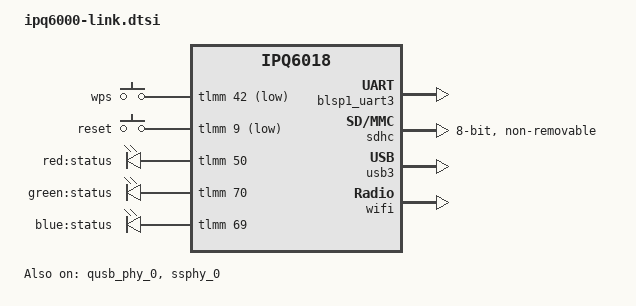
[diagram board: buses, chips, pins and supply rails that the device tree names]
// SPDX-License-Identifier: GPL-2.0-or-later OR MIT

#include "ipq6018-512m.dtsi"
#include "ipq6018-ess.dtsi"
#include "ipq6018-nss.dtsi"

#include <dt-bindings/gpio/gpio.h>
#include <dt-bindings/input/input.h>

/ {
	aliases {
		serial0 = &blsp1_uart3;
		led-boot = &led_status_red;
		led-failsafe = &led_status_red;
		led-running = &led_status_green;
		led-upgrade = &led_status_red;
	};

	chosen {
		stdout-path = "serial0:115200n8";
	};

	keys {
		compatible = "gpio-keys";
		pinctrl-0 = <&button_pins>;
		pinctrl-names = "default";

		wps {
			label = "wps";
			linux,code = <KEY_WPS_BUTTON>;
			gpios = <&tlmm 42 GPIO_ACTIVE_LOW>;
		};

		reset {
			label = "reset";
			linux,code = <KEY_RESTART>;
			gpios = <&tlmm 9 GPIO_ACTIVE_LOW>;
		};
	};

	leds {
		compatible = "gpio-leds";

		led_status_red: red {
			label = "red:status";
			gpios = <&tlmm 50 GPIO_ACTIVE_HIGH>;
			default-state = "on";
		};

		led_status_green: green {
			label = "green:status";
			gpios = <&tlmm 70 GPIO_ACTIVE_HIGH>;
		};

		led_status_blue: blue {
			label = "blue:status";
			gpios = <&tlmm 69 GPIO_ACTIVE_HIGH>;
		};
	};
};

&tlmm {
	gpio-reserved-ranges = <20 1>;

	button_pins: button_pins {
		mux {
			pins = "gpio9", "gpio42";
			function = "gpio";
			drive-strength = <8>;
			bias-pull-up;
		};
	};

	mdio_pins: mdio-pins {
		mdc {
			pins = "gpio64";
			function = "mdc";
			drive-strength = <8>;
			bias-pull-up;
		};

		mdio {
			pins = "gpio65";
			function = "mdio";
			drive-strength = <8>;
			bias-pull-up;
		};
	};
};

&blsp1_uart3 {
	pinctrl-0 = <&serial_3_pins>;
	pinctrl-names = "default";
	status = "okay";
};

&qusb_phy_0 {
	status = "okay";
};

&rpm {
	status = "disabled";
};

&sdhc {
	bus-width = <8>;
	mmc-ddr-1_8v;
	mmc-hs200-1_8v;
	non-removable;
	status = "okay";
};

&ssphy_0 {
	status = "okay";
};

&usb3 {
	status = "okay";
};

&wifi {
	status = "okay";

	qcom,ath11k-calibration-variant = "Link-NN6000";
	qcom,ath11k-fw-memory-mode = <1>;
};

&edma {
	status = "okay";
};
